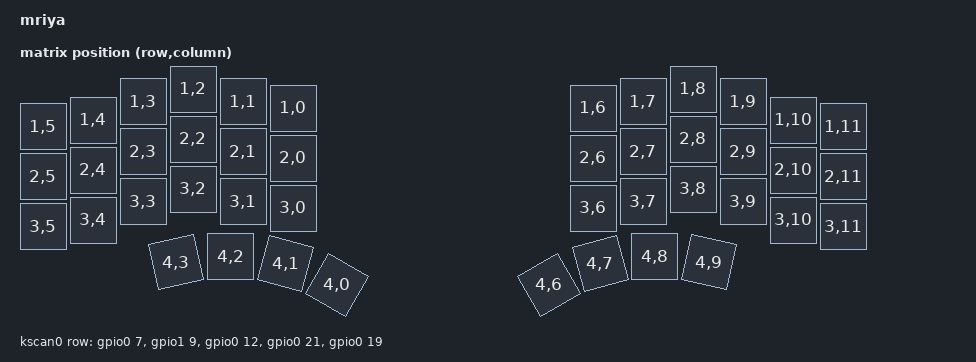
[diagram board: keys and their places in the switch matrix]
/*
 * Copyright (c) 2023 Andrei Gaevskii
 *
 * SPDX-License-Identifier: MIT
 */

/dts-v1/;
#include <nordic/nrf52840_qiaa.dtsi>
#include <common/nordic/nrf52840_uf2_boot_mode.dtsi>

#include <dt-bindings/zmk/matrix_transform.h>
#include <physical_layouts.dtsi>


/ {
	model = "mriya";
	compatible = "mriya";

	chosen {
		zephyr,code-partition = &code_partition;
		zephyr,sram = &sram0;
		zephyr,flash = &flash0;
		zmk,kscan = &kscan0;
		zmk,physical-layout = &physical_layout0;
		zmk,battery = &vbatt;
		zmk,studio-rpc-uart = &cdc_acm_uart;
	};

    physical_layout0: physical_layout_0 {
		compatible = "zmk,physical-layout";
		display-name = "Default";
		transform = <&default_transform>;
		kscan = <&kscan0>;

        keys  //                     w   h    x    y     rot    rx    ry
            = <&key_physical_attrs 100 100    0   75       0     0     0>
            , <&key_physical_attrs 100 100  100   62       0     0     0>
            , <&key_physical_attrs 100 100  200   25       0     0     0>
            , <&key_physical_attrs 100 100  300    0       0     0     0>
            , <&key_physical_attrs 100 100  400   25       0     0     0>
            , <&key_physical_attrs 100 100  500   38       0     0     0>
            , <&key_physical_attrs 100 100 1100   38       0     0     0>
            , <&key_physical_attrs 100 100 1200   25       0     0     0>
            , <&key_physical_attrs 100 100 1300    0       0     0     0>
            , <&key_physical_attrs 100 100 1400   25       0     0     0>
            , <&key_physical_attrs 100 100 1500   62       0     0     0>
            , <&key_physical_attrs 100 100 1600   75       0     0     0>
            , <&key_physical_attrs 100 100    0  175       0     0     0>
            , <&key_physical_attrs 100 100  100  162       0     0     0>
            , <&key_physical_attrs 100 100  200  125       0     0     0>
            , <&key_physical_attrs 100 100  300  100       0     0     0>
            , <&key_physical_attrs 100 100  400  125       0     0     0>
            , <&key_physical_attrs 100 100  500  138       0     0     0>
            , <&key_physical_attrs 100 100 1100  138       0     0     0>
            , <&key_physical_attrs 100 100 1200  125       0     0     0>
            , <&key_physical_attrs 100 100 1300  100       0     0     0>
            , <&key_physical_attrs 100 100 1400  125       0     0     0>
            , <&key_physical_attrs 100 100 1500  162       0     0     0>
            , <&key_physical_attrs 100 100 1600  175       0     0     0>
            , <&key_physical_attrs 100 100    0  275       0     0     0>
            , <&key_physical_attrs 100 100  100  262       0     0     0>
            , <&key_physical_attrs 100 100  200  225       0     0     0>
            , <&key_physical_attrs 100 100  300  200       0     0     0>
            , <&key_physical_attrs 100 100  400  225       0     0     0>
            , <&key_physical_attrs 100 100  500  238       0     0     0>
            , <&key_physical_attrs 100 100 1100  238       0     0     0>
            , <&key_physical_attrs 100 100 1200  225       0     0     0>
            , <&key_physical_attrs 100 100 1300  200       0     0     0>
            , <&key_physical_attrs 100 100 1400  225       0     0     0>
            , <&key_physical_attrs 100 100 1500  262       0     0     0>
            , <&key_physical_attrs 100 100 1600  275       0     0     0>
            , <&key_physical_attrs 100 100  275  335 (-1200)   375   435>
            , <&key_physical_attrs 100 100  375  335       0     0     0>
            , <&key_physical_attrs 100 100  500  338    1500   500   338>
            , <&key_physical_attrs 100 100  570  360    3000   570   460>
            , <&key_physical_attrs 100 100 1030  360 (-3000)  1130   460>
            , <&key_physical_attrs 100 100 1100  338 (-1500)  1200   338>
            , <&key_physical_attrs 100 100 1223  335       0     0     0>
            , <&key_physical_attrs 100 100 1323  335    1200  1323   435>
            ;
    };

	default_transform: keymap_transform_0 {
		compatible = "zmk,matrix-transform";
		columns = <12>;
		rows = <5>;
		map = <
                    RC(1,5) RC(1,4) RC(1,3) RC(1,2) RC(1,1) RC(1,0)  RC(1,6) RC(1,7) RC(1,8) RC(1,9) RC(1,10) RC(1,11)
                    RC(2,5) RC(2,4) RC(2,3) RC(2,2) RC(2,1) RC(2,0)  RC(2,6) RC(2,7) RC(2,8) RC(2,9) RC(2,10) RC(2,11)
                    RC(3,5) RC(3,4) RC(3,3) RC(3,2) RC(3,1) RC(3,0)  RC(3,6) RC(3,7) RC(3,8) RC(3,9) RC(3,10) RC(3,11)
                                    RC(4,3) RC(4,2) RC(4,1) RC(4,0)  RC(4,6) RC(4,7) RC(4,8) RC(4,9)
		>;
	};

	kscan0: kscan {
		compatible = "zmk,kscan-gpio-matrix";
		label = "KSCAN";

		wakeup-source;

		diode-direction = "col2row";
		row-gpios
			= <&gpio0  7 (GPIO_ACTIVE_HIGH | GPIO_PULL_DOWN)>
			, <&gpio1  9 (GPIO_ACTIVE_HIGH | GPIO_PULL_DOWN)>
			, <&gpio0 12 (GPIO_ACTIVE_HIGH | GPIO_PULL_DOWN)>
			, <&gpio0 21 (GPIO_ACTIVE_HIGH | GPIO_PULL_DOWN)>
			, <&gpio0 19 (GPIO_ACTIVE_HIGH | GPIO_PULL_DOWN)>
			;
	};

	leds {
		compatible = "gpio-leds";
		blue_led: led_0 {
			gpios = <&gpio0 23 GPIO_ACTIVE_HIGH>;
			label = "Blue LED";
		};
	};

	vbatt: vbatt {
		compatible = "zmk,battery-voltage-divider";
		label = "VBATT";
		io-channels = <&adc 0>;
		output-ohms = <2000000>;
		full-ohms = <(2000000 + 806000)>;
	};

};


&adc {
	status = "okay";
};

&gpiote {
	status = "okay";
};

&gpio0 {
	status = "okay";
};

&gpio1 {
	status = "okay";
};

zephyr_udc0: &usbd {
	status = "okay";
	cdc_acm_uart: cdc_acm_uart {
		compatible = "zephyr,cdc-acm-uart";
	};
};

&flash0 {
	/*
	 * For more information, see:
	 * http://docs.zephyrproject.org/latest/devices/dts/flash_partitions.html
	 */
	partitions {
		compatible = "fixed-partitions";
		#address-cells = <1>;
		#size-cells = <1>;

		sd_partition: partition@0 {
			label = "softdevice";
			reg = <0x00000000 0x00026000>;
		};
		code_partition: partition@26000 {
			label = "code_partition";
			reg = <0x00026000 0x000c6000>;
		};

		/*
		 * The flash starting at 0x000ec000 and ending at
		 * 0x000f3fff is reserved for use by the application.
		 */

		/*
		 * Storage partition will be used by FCB/LittleFS/NVS
		 * if enabled.
		 */
		storage_partition: partition@ec000 {
			label = "storage";
			reg = <0x000ec000 0x00008000>;
		};

		boot_partition: partition@f4000 {
			label = "adafruit_boot";
			reg = <0x000f4000 0x0000c000>;
		};
	};
};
